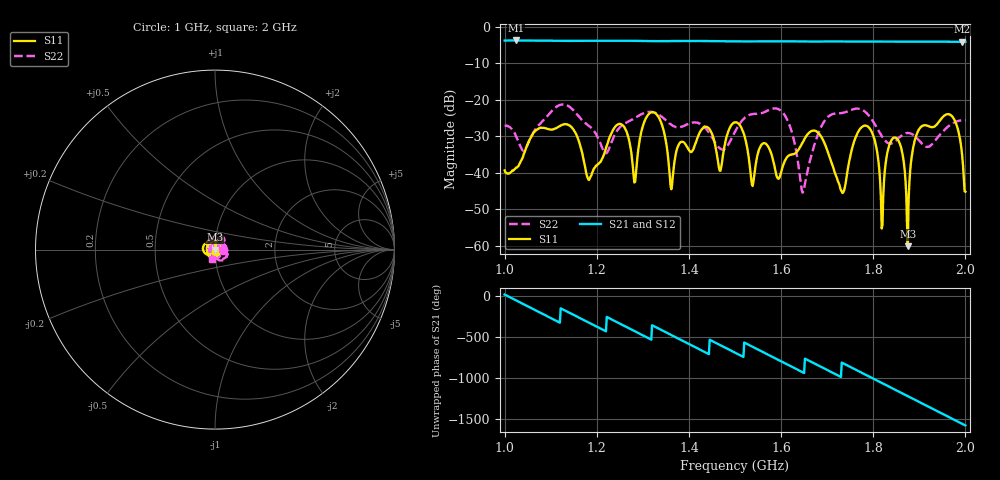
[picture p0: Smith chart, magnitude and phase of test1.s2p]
!Keysight Technologies N9923A: A.08.15
!Date: Wednesday, 14 February 2024 19:53:55
!Timezone: (GMT-05:00) Eastern Time (US & Canada)
!Model: N9923A
!Serial: MY52412730
!GPS Latitude:
!GPS Longitude:
!GPS TimeStamp: 0001-01-01 00:00:00Z
!GPS Seconds Since Last Read: 0
!CHECKSUM:1998652962
!Correction: S11(ON Q)S21(ON Q)S12(ON Q)S22(ON Q)
!S2P File: Measurements:S11,S21,S12,S22:
# Hz S DB R 50
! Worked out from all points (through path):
!   601 points, 1 GHz to 2 GHz, reference 50 ohm
!   highest |S21| = -3.71 dB at 1.025 GHz (marker M1); lowest = -4.1 dB at 1.993 GHz (marker M2)
!   lowest |S11| = -60.1 dB at 1.875 GHz (marker M3), VSWR 1.00, Z = 49.9 - j0.053 ohm
!   |S11| at or under -10 dB: start of sweep to end of sweep
!   |S22| runs from -45.4 to -21.3 dB; largest |S21 - S12| = 0.011
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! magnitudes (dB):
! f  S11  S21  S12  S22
! 1 GHz  -39.3  -3.7  -3.7  -27.1
! 1.025 GHz  -38.6  -3.7  -3.7  -29.9
! 1.078 GHz  -27.6  -3.8  -3.8  -26.4
! 1.168 GHz  -34.5  -3.8  -3.9  -25.6
! 1.252 GHz  -26.6  -3.8  -3.8  -27.3
! 1.282 GHz  -42.7  -3.8  -3.9  -25.1
! 1.335 GHz  -24.9  -3.9  -3.9  -24.1
! 1.362 GHz  -44.5  -3.9  -3.9  -26.8
! 1.5 GHz  -26.2  -4.0  -4.0  -28.7
! 1.538 GHz  -43.6  -4.0  -4.0  -23.9
! 1.607 GHz  -37.2  -3.9  -4.0  -24.0
! 1.647 GHz  -31.7  -4.0  -4.0  -45.4
! 1.668 GHz  -28.4  -4.0  -4.0  -34.0
! 1.733 GHz  -45.5  -4.0  -4.0  -23.6
! 1.775 GHz  -27.5  -4.0  -4.0  -22.7
! 1.818 GHz  -55.2  -4.0  -4.1  -29.9
! 1.833 GHz  -33.0  -4.0  -4.1  -31.9
! 1.875 GHz  -60.1  -4.0  -4.0  -29.1
! 1.905 GHz  -27.3  -4.0  -4.1  -31.9
! 1.968 GHz  -24.2  -4.1  -4.1  -26.7
! 1.993 GHz  -35.7  -4.1  -4.1  -25.6
! 2 GHz  -45.2  -4.1  -4.1  -25.6
